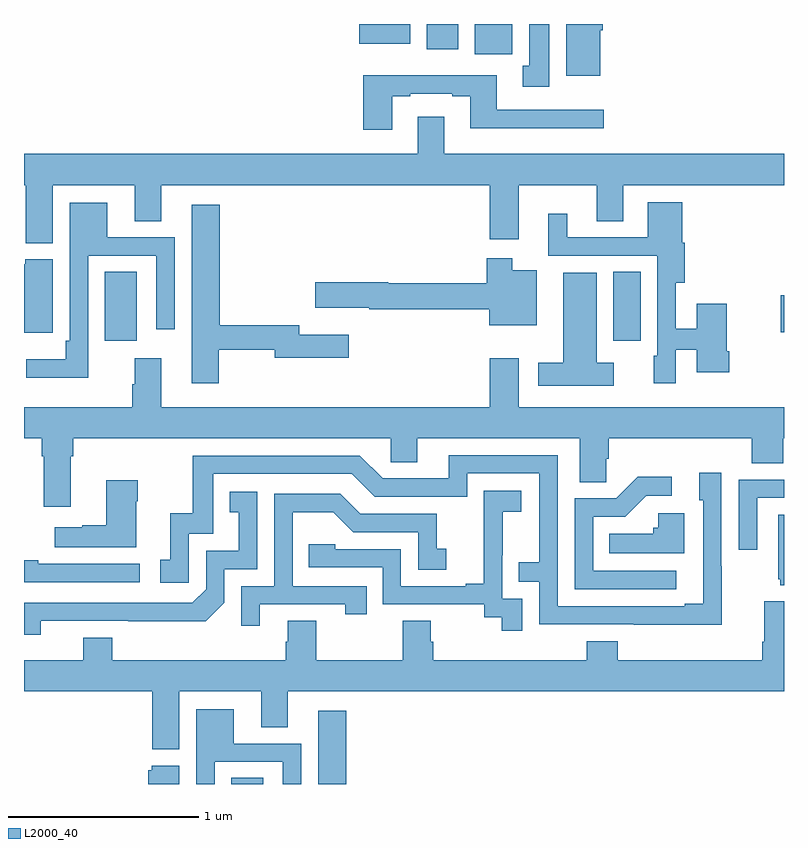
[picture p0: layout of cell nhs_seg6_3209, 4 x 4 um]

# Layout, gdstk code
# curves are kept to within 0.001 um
import gdstk
lib = gdstk.Library(unit=1e-6, precision=1e-09)
def R(c, l, rs):  # rectangles x0, y0, x1, y1
    for r in rs: c.add(gdstk.rectangle(r[:2], r[2:], *l))
def P(c, l, *ps):  # polygons
    for p in ps: c.add(gdstk.Polygon(p, *l))
L2000_40 = (2000, 40)

nhs_seg6_3209 = lib.new_cell('nhs_seg6_3209')
R(nhs_seg6_3209, L2000_40, [(300.092,961.5,300.259,961.532), (300.548,961.5,300.695,961.885), (299.426,963.834,299.593,964.196), (302.102,963.834,302.245,964.196), (302.984,963.878,303,964.072), (301.373,965.34,301.569,965.5), (301.121,965.366,301.285,965.5), (300.764,965.396,301.033,965.5)])
P(nhs_seg6_3209, L2000_40, [(301.765,965.5),(301.658,965.5),(301.658,965.281),(301.625,965.281),(301.625,965.169),(301.765,965.169)],
  [(302.032,965.468),(302.045,965.468),(302.045,965.5),(301.853,965.5),(301.853,965.228),(302.032,965.228)],
  [(300.937,965.121),(301.033,965.121),(301.033,965.133),(301.253,965.133),(301.253,965.121),(301.349,965.121),(301.349,964.952),(302.05,964.952),(302.05,965.049),(301.489,965.049),(301.489,965.23),(300.785,965.23),(300.785,964.944),(300.937,964.944)],
  [(299.152,964.652),(299.582,964.652),(299.582,964.462),(299.722,964.462),(299.722,964.652),(301.451,964.652),(301.451,964.368),(301.603,964.368),(301.603,964.652),(302.015,964.652),(302.015,964.462),(302.155,964.462),(302.155,964.652),(303,964.652),(303,964.816),(301.213,964.816),(301.213,965.011),(301.073,965.011),(301.073,964.816),(299,964.816),(299,964.652),(299.009,964.652),(299.009,964.346),(299.152,964.346)],
  [(302.43,963.786),(302.54,963.786),(302.54,963.666),(302.711,963.666),(302.711,963.778),(302.698,963.778),(302.698,964.027),(302.54,964.027),(302.54,963.897),(302.43,963.897),(302.43,964.139),(302.477,964.139),(302.477,964.35),(302.464,964.35),(302.464,964.561),(302.282,964.561),(302.282,964.377),(301.858,964.377),(301.858,964.501),(301.76,964.501),(301.76,964.281),(302.334,964.281),(302.334,963.753),(302.315,963.753),(302.315,963.609),(302.43,963.609)],
  [(299.337,964.281),(299.697,964.281),(299.697,963.894),(299.793,963.894),(299.793,964.377),(299.437,964.377),(299.437,964.558),(299.241,964.558),(299.241,963.832),(299.221,963.832),(299.221,963.736),(299.013,963.736),(299.013,963.638),(299.337,963.638)],
  [(300.024,963.786),(300.32,963.786),(300.32,963.743),(300.709,963.743),(300.709,963.865),(300.448,963.865),(300.448,963.914),(300.029,963.914),(300.029,964.549),(299.882,964.549),(299.882,963.609),(300.024,963.609)],
  [(301.699,964.204),(301.57,964.204),(301.57,964.267),(301.436,964.267),(301.436,964.136),(300.918,964.136),(300.918,964.142),(300.534,964.142),(300.534,964.007),(300.818,964.007),(300.818,964),(301.448,964),(301.448,963.914),(301.699,963.914)],
  [(299.152,964.261),(299.007,964.261),(299.007,964.236),(299,964.236),(299,963.875),(299.152,963.875)],
  [(302.104,963.718),(302.014,963.718),(302.014,964.192),(301.838,964.192),(301.838,963.718),(301.707,963.718),(301.707,963.596),(302.104,963.596)],
  [(299.245,963.224),(299.258,963.224),(299.258,963.32),(300.93,963.32),(300.93,963.193),(301.069,963.193),(301.069,963.32),(301.925,963.32),(301.925,963.088),(302.064,963.088),(302.064,963.211),(302.078,963.211),(302.078,963.32),(302.831,963.32),(302.831,963.187),(302.996,963.187),(302.996,963.32),(303,963.32),(303,963.484),(301.603,963.484),(301.603,963.742),(301.451,963.742),(301.451,963.484),(299.722,963.484),(299.722,963.742),(299.582,963.742),(299.582,963.605),(299.57,963.605),(299.57,963.484),(299,963.484),(299,963.32),(299.093,963.32),(299.093,963.224),(299.105,963.224),(299.105,962.958),(299.245,962.958)],
  [(302.673,962.645),(302.67,962.645),(302.67,963.139),(302.555,963.139),(302.555,962.994),(302.574,962.994),(302.574,962.449),(302.477,962.449),(302.477,962.436),(301.809,962.436),(301.809,963.231),(301.235,963.231),(301.235,963.108),(300.888,963.108),(300.768,963.228),(299.889,963.228),(299.889,962.926),(299.771,962.926),(299.771,962.679),(299.718,962.679),(299.718,962.559),(299.868,962.559),(299.868,962.817),(299.997,962.817),(299.997,963.132),(300.726,963.132),(300.846,963.012),(301.332,963.012),(301.332,963.135),(301.713,963.135),(301.713,962.666),(301.603,962.666),(301.603,962.565),(301.713,962.565),(301.713,962.34),(302.673,962.339)],
  [(302.434,962.622),(301.995,962.622),(301.995,962.907),(302.164,962.907),(302.275,963.018),(302.41,963.018),(302.41,963.116),(302.231,963.116),(302.118,963.003),(301.899,963.003),(301.899,962.526),(302.434,962.526)],
  [(302.859,963.006),(303,963.006),(303,963.102),(302.763,963.102),(302.763,962.733),(302.859,962.733)],
  [(299.59,962.987),(299.598,962.987),(299.598,963.1),(299.432,963.1),(299.432,962.861),(299.306,962.861),(299.306,962.851),(299.163,962.851),(299.163,962.747),(299.59,962.747)],
  [(301.623,962.475),(301.518,962.475),(301.518,962.705),(301.52,962.705),(301.52,962.933),(301.618,962.933),(301.618,963.043),(301.42,963.043),(301.42,962.837),(301.421,962.837),(301.421,962.554),(301.325,962.554),(301.325,962.541),(300.984,962.541),(300.984,962.736),(300.639,962.736),(300.639,962.763),(300.499,962.763),(300.499,962.64),(300.888,962.64),(300.888,962.445),(301.422,962.445),(301.422,962.377),(301.515,962.377),(301.515,962.307),(301.623,962.307)],
  [(299.088,962.358),(299.956,962.357),(300.054,962.454),(300.054,962.631),(300.228,962.631),(300.228,963.037),(300.082,963.037),(300.082,962.931),(300.131,962.931),(300.131,962.727),(299.958,962.727),(299.958,962.526),(299.886,962.454),(299,962.454),(299,962.285),(299.088,962.285)],
  [(300.241,962.445),(300.692,962.445),(300.692,962.394),(300.803,962.394),(300.803,962.541),(300.414,962.541),(300.414,962.93),(300.628,962.93),(300.732,962.826),(301.074,962.826),(301.074,962.628),(301.222,962.628),(301.222,962.737),(301.173,962.737),(301.173,962.922),(300.769,962.922),(300.664,963.027),(300.318,963.027),(300.318,962.541),(300.144,962.541),(300.144,962.334),(300.241,962.334)],
  [(302.476,962.926),(302.337,962.926),(302.337,962.85),(302.311,962.85),(302.311,962.818),(302.08,962.818),(302.08,962.714),(302.476,962.714)],
  [(303,962.917),(302.969,962.917),(302.969,962.577),(302.981,962.577),(302.981,962.546),(303,962.546)],
  [(299.608,962.658),(299.075,962.658),(299.075,962.678),(299,962.678),(299,962.562),(299.608,962.562)],
  [(299.818,961.988),(300.248,961.988),(300.248,961.798),(300.388,961.798),(300.388,961.988),(303,961.988),(303,962.461),(302.897,962.461),(302.897,962.248),(302.885,962.248),(302.885,962.152),(302.126,962.152),(302.126,962.251),(301.961,962.251),(301.961,962.152),(301.154,962.152),(301.154,962.25),(301.141,962.25),(301.141,962.36),(300.994,962.36),(300.994,962.152),(300.537,962.152),(300.537,962.36),(300.389,962.36),(300.389,962.25),(300.377,962.25),(300.377,962.152),(299.465,962.152),(299.465,962.269),(299.312,962.269),(299.312,962.152),(299,962.152),(299,961.988),(299.675,961.988),(299.675,961.682),(299.818,961.682)],
  [(300.003,961.617),(300.363,961.617),(300.363,961.5),(300.459,961.5),(300.459,961.713),(300.103,961.713),(300.103,961.894),(299.907,961.894),(299.907,961.5),(300.003,961.5)],
  [(299.818,961.597),(299.673,961.597),(299.673,961.572),(299.654,961.572),(299.654,961.5),(299.818,961.5)])

lib.write_gds('nhs_seg6_3209.gds')
